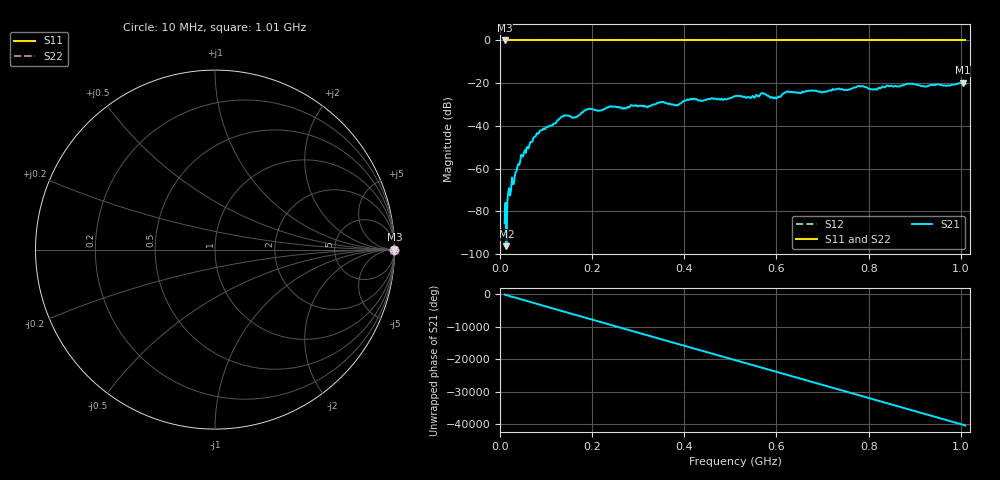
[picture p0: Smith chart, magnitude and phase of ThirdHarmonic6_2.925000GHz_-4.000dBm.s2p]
! 8/17/2025 8:09:02 AM
! C:\ANRITSUVNA\TEMP\TEMP.S2P
! CHANNEL.1
! TR.MEASUREMENT
! RAW.DATA
! RF.CORRECTION.OFF
! AVERAGING.OFF
! IF.BANDWIDTH: 5KHZ
! SWEEPTYPE:  FREQ.SWEEP(Linear)
! Reference Plane Port Info
! PORT:  PORT1  PORT2
! DISTANCE:  0  m  0  m
! TIME:  0  s  0  s
! PHASE.OFFSET:  0  deg.  0  deg.
! LOSS:  0  dB  0  dB
! REF.LOSS:  0  dB  0  dB
! REF.FREQ:  0  Hz  0  Hz
! Power Info
! POWER:  -20  dBm  -20  dBm
! EFF.POWER:  -20  dBm  -20  dBm
! SOURCE.ATTEN:  0  dB  0  dB
! TEST.ATTEN:  0  dB  0  dB
# GHZ S RI R 50.0
! FREQ.GHZ  S11RE  S11IM  S21RE  S21IM  S12RE  S12IM  S22RE  S22IM
!; PortSelection: Port_12
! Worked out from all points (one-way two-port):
!   501 points, 10 MHz to 1.01 GHz, reference 50 ohm
!   highest |S21| = -19.75 dB at 1.004 GHz (marker M1); lowest = -96.3 dB at 14 MHz (marker M2)
!   lowest |S11| = 0.0 dB at 10 MHz (marker M3)
!   |S11| at or under -10 dB: nowhere
!   |S22| runs from 0.0 to 0.0 dB; largest |S21 - S12| = 1.1
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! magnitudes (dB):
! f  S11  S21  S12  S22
! 10 MHz  0.0  -85.6  0.0  0.0
! 14 MHz  0.0  -96.3  0.0  0.0
! 22 MHz  0.0  -72.6  0.0  0.0
! 26 MHz  0.0  -64.2  0.0  0.0
! 42 MHz  0.0  -58.2  0.0  0.0
! 76 MHz  0.0  -45.1  0.0  0.0
! 136 MHz  0.0  -35.6  0.0  0.0
! 162 MHz  0.0  -35.9  0.0  0.0
! 178 MHz  0.0  -33.7  0.0  0.0
! 194 MHz  0.0  -31.9  0.0  0.0
! 322 MHz  0.0  -30.9  0.0  0.0
! 344 MHz  0.0  -29.3  0.0  0.0
! 384 MHz  0.0  -30.2  0.0  0.0
! 410 MHz  0.0  -27.9  0.0  0.0
! 510 MHz  0.0  -26.1  0.0  0.0
! 570 MHz  0.0  -24.6  0.0  0.0
! 596 MHz  0.0  -26.7  0.0  0.0
! 622 MHz  0.0  -24.1  0.0  0.0
! 678 MHz  0.0  -23.5  0.0  0.0
! 844 MHz  0.0  -21.4  0.0  0.0
! 1.004 GHz  0.0  -19.8  0.0  0.0
! 1.01 GHz  0.0  -20.4  0.0  0.0
